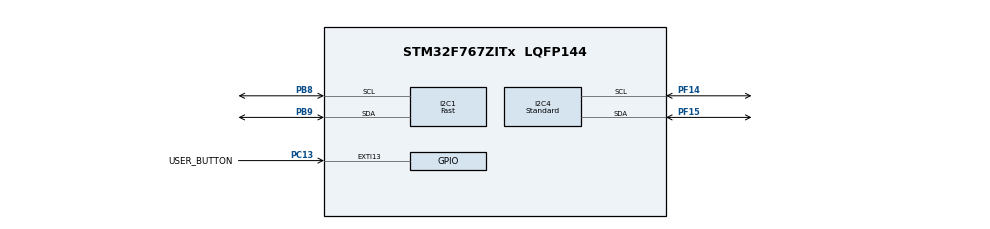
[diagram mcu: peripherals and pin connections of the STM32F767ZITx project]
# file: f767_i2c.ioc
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CORTEX_M7.default_mode_Activation=1
I2C1.I2C_Speed_Mode=I2C_Fast
I2C1.Timing=0x0010061A
I2C4.I2C_Speed_Mode=I2C_Standard
Mcu.Family=STM32F7
Mcu.Name=STM32F767ZITx
Mcu.Package=LQFP144
NVIC.EXTI15_10_IRQn=true\:0\:0\:false\:false\:true\:true\:true\:true
NVIC.PriorityGroup=NVIC_PRIORITYGROUP_4
PB8.Mode=I2C
PB8.Signal=I2C1_SCL
PB9.Mode=I2C
PB9.Signal=I2C1_SDA
PC13.GPIO_Label=USER_BUTTON
PC13.Signal=GPXTI13
PF14.Mode=I2C
PF14.Signal=I2C4_SCL
PF15.Mode=I2C
PF15.Signal=I2C4_SDA
ProjectManager.HeapSize=0x200
ProjectManager.StackSize=0x400
ProjectManager.TargetToolchain=STM32CubeIDE
RCC.HSE_VALUE=25000000
RCC.HSI_VALUE=16000000
RCC.LSE_VALUE=32768
RCC.USBFreq_Value=96000000
RCC.VCOOutputFreq_Value=192000000
board=custom

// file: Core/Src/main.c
/* USER CODE BEGIN Header */
/**
  ******************************************************************************
  * @file           : main.c
  * @brief          : Main program body
  ******************************************************************************
  * @attention
  *
  * Copyright (c) 2026 STMicroelectronics.
  * All rights reserved.
  *
  * This software is licensed under terms that can be found in the LICENSE file
  * in the root directory of this software component.
  * If no LICENSE file comes with this software, it is provided AS-IS.
  *
  ******************************************************************************
  */
/* USER CODE END Header */
#include "main.h"

/* USER CODE BEGIN Includes */
#include "ssd1306.h"
#include "MPU6050.h"
#include "math.h"
#include <stdio.h>
/* USER CODE END Includes */

I2C_HandleTypeDef hi2c1;
I2C_HandleTypeDef hi2c4;

/* USER CODE BEGIN PV */

float Ax, Ay, Az;
float Gx, Gy, Gz;

float accel_pitch, accel_roll;
float pitch, roll;

uint32_t ultimo_tempo_botao = 0;
uint32_t tempo_display = 0;
uint8_t tela_anterior = 3;

#define PI 3.14159265358979323846

volatile uint8_t control = 0;

/* USER CODE END PV */

void SystemClock_Config(void);
static void MPU_Config(void);
static void MX_GPIO_Init(void);
static void MX_I2C1_Init(void);
static void MX_I2C4_Init(void);

int main(void)
{

  /* MPU Configuration--------------------------------------------------------*/
  MPU_Config();

  /* MCU Configuration--------------------------------------------------------*/

  /* Reset of all peripherals, Initializes the Flash interface and the Systick. */
  HAL_Init();

  /* Configure the system clock */
  SystemClock_Config();

  /* Initialize all configured peripherals */
  MX_GPIO_Init();
  MX_I2C1_Init();
  MX_I2C4_Init();
  /* USER CODE BEGIN 2 */

  SSD1306_Init();
  MPU6050_init();

  MPU6050_Read_Accel(&Ax, &Ay, &Az);
  pitch = atan2(Ax, sqrt(Ay * Ay + Az * Az)) * (180.0 / PI);
  roll  = atan2(Ay, sqrt(Ax * Ax + Az * Az)) * (180.0 / PI);

  uint32_t tempo_anterior = HAL_GetTick();

  SSD1306_Clear();

  SSD1306_GotoXY(40, 0);
  SSD1306_Puts("Angulos", &Font_7x10, 1);

  SSD1306_GotoXY(15, 16);
  SSD1306_Puts("Pitch:", &Font_7x10, 1);
  SSD1306_GotoXY(15, 30);
  SSD1306_Puts("Roll: ", &Font_7x10, 1);
  SSD1306_GotoXY(15, 44);
  SSD1306_Puts("Yaw:  ", &Font_7x10, 1);

  SSD1306_UpdateScreen();

  /* USER CODE END 2 */

  /* Infinite loop */
  while (1)
  {

	  MPU6050_Read_Accel(&Ax,&Ay,&Az);
	  MPU6050_Read_Gyro(&Gx, &Gy, &Gz);

	  uint32_t tempo_atual = HAL_GetTick();
	  float dt = (tempo_atual - tempo_anterior) / 1000.0;
	  tempo_anterior = tempo_atual;

	  char buffer_float[16];

	  if(dt > 0){

		  accel_pitch = atan2(Ax, sqrt(Ay * Ay + Az * Az)) * (180.0/ PI);
		  accel_roll = atan2(Ay, sqrt(Ax * Ax + Az * Az)) * (180.0/ PI);

		  float gx_ang = Gx / 131.0;
		  float gy_ang = Gy / 131.0;

		  pitch = 0.05 * (pitch + gx_ang * dt) + 0.95 * accel_pitch;
		  roll = 0.05 * (roll + gy_ang * dt) + 0.95 * accel_roll;

		  if(tempo_atual - tempo_display >= 100){

			  tempo_display = HAL_GetTick();

			  if(control != tela_anterior){

				  SSD1306_Clear();

				  if(control == 0){

					  SSD1306_GotoXY(40, 0);
					  SSD1306_Puts("Degrees", &Font_7x10, 1);

					  SSD1306_GotoXY(15, 16);
					  SSD1306_Puts("Pitch:", &Font_7x10, 1);
					  SSD1306_GotoXY(15, 30);
					  SSD1306_Puts("Roll: ", &Font_7x10, 1);
					  SSD1306_GotoXY(15, 44);
					  SSD1306_Puts("Yaw: ", &Font_7x10, 1);

				  }

				 if(control == 1){

					 SSD1306_GotoXY(20, 0);
					 SSD1306_Puts("Accelerations", &Font_7x10, 1);

					 SSD1306_GotoXY(15, 16);
					 SSD1306_Puts("Ac.X:", &Font_7x10, 1);
					 SSD1306_GotoXY(15, 30);
					 SSD1306_Puts("Ac.Y: ", &Font_7x10, 1);
					 SSD1306_GotoXY(15, 44);
					 SSD1306_Puts("Ac.Z:", &Font_7x10, 1);

				 }

				 if(control == 2){

					 SSD1306_GotoXY(30, 0);
					 SSD1306_Puts("Velocities", &Font_7x10, 1);

					 SSD1306_GotoXY(15, 16);
					 SSD1306_Puts("Vel.X:", &Font_7x10, 1);
					 SSD1306_GotoXY(15, 30);
					 SSD1306_Puts("Vel.Y: ", &Font_7x10, 1);
					 SSD1306_GotoXY(15, 44);
					 SSD1306_Puts("Vel.Z:", &Font_7x10, 1);

				 }

				 tela_anterior = control;
			  }

			  if(control == 0){

				  SSD1306_GotoXY (65,16);
				  sprintf (buffer_float, "%.3f", pitch);
				  SSD1306_Puts (buffer_float, &Font_7x10, 1);
				  SSD1306_GotoXY (65,30);
				  sprintf (buffer_float, "%.3f", roll);
				  SSD1306_Puts (buffer_float, &Font_7x10, 1);
				  SSD1306_GotoXY (65,44);
				  sprintf (buffer_float, "%.3f", 0.0);
				  SSD1306_Puts (buffer_float, &Font_7x10, 1);

			  }

			  if(control == 1){

				  SSD1306_GotoXY (65,16);
				  sprintf (buffer_float, "%.3f", Ax);
				  SSD1306_Puts (buffer_float, &Font_7x10, 1);
				  SSD1306_GotoXY (65,30);
				  sprintf (buffer_float, "%.3f", Ay);
				  SSD1306_Puts (buffer_float, &Font_7x10, 1);
				  SSD1306_GotoXY (65,44);
				  sprintf (buffer_float, "%.3f", Az);
				  SSD1306_Puts (buffer_float, &Font_7x10, 1);

			  }

			  if(control == 2){

				  SSD1306_GotoXY (65,16);
				  sprintf (buffer_float, "%.3f", Gx);
				  SSD1306_Puts (buffer_float, &Font_7x10, 1);
				  SSD1306_GotoXY (65,30);
				  sprintf (buffer_float, "%.3f", Gy);
				  SSD1306_Puts (buffer_float, &Font_7x10, 1);
				  SSD1306_GotoXY (65,44);
				  sprintf (buffer_float, "%.3f", Gz);
				  SSD1306_Puts (buffer_float, &Font_7x10, 1);

			  }

			  SSD1306_UpdateScreen();

		  }

	  }

  }
}

void SystemClock_Config(void)
{
  RCC_OscInitTypeDef RCC_OscInitStruct = {0};
  RCC_ClkInitTypeDef RCC_ClkInitStruct = {0};

  /** Configure the main internal regulator output voltage
  */
  __HAL_RCC_PWR_CLK_ENABLE();
  __HAL_PWR_VOLTAGESCALING_CONFIG(PWR_REGULATOR_VOLTAGE_SCALE3);

  /** Initializes the RCC Oscillators according to the specified parameters
  * in the RCC_OscInitTypeDef structure.
  */
  RCC_OscInitStruct.OscillatorType = RCC_OSCILLATORTYPE_HSI;
  RCC_OscInitStruct.HSIState = RCC_HSI_ON;
  RCC_OscInitStruct.HSICalibrationValue = RCC_HSICALIBRATION_DEFAULT;
  RCC_OscInitStruct.PLL.PLLState = RCC_PLL_NONE;
  if (HAL_RCC_OscConfig(&RCC_OscInitStruct) != HAL_OK)
  {
    Error_Handler();
  }

  /** Initializes the CPU, AHB and APB buses clocks
  */
  RCC_ClkInitStruct.ClockType = RCC_CLOCKTYPE_HCLK|RCC_CLOCKTYPE_SYSCLK
                              |RCC_CLOCKTYPE_PCLK1|RCC_CLOCKTYPE_PCLK2;
  RCC_ClkInitStruct.SYSCLKSource = RCC_SYSCLKSOURCE_HSI;
  RCC_ClkInitStruct.AHBCLKDivider = RCC_SYSCLK_DIV1;
  RCC_ClkInitStruct.APB1CLKDivider = RCC_HCLK_DIV1;
  RCC_ClkInitStruct.APB2CLKDivider = RCC_HCLK_DIV1;

  if (HAL_RCC_ClockConfig(&RCC_ClkInitStruct, FLASH_LATENCY_0) != HAL_OK)
  {
    Error_Handler();
  }
}

static void MX_I2C1_Init(void)
{

  hi2c1.Instance = I2C1;
  hi2c1.Init.Timing = 0x0010061A;
  hi2c1.Init.OwnAddress1 = 0;
  hi2c1.Init.AddressingMode = I2C_ADDRESSINGMODE_7BIT;
  hi2c1.Init.DualAddressMode = I2C_DUALADDRESS_DISABLE;
  hi2c1.Init.OwnAddress2 = 0;
  hi2c1.Init.OwnAddress2Masks = I2C_OA2_NOMASK;
  hi2c1.Init.GeneralCallMode = I2C_GENERALCALL_DISABLE;
  hi2c1.Init.NoStretchMode = I2C_NOSTRETCH_DISABLE;
  if (HAL_I2C_Init(&hi2c1) != HAL_OK)
  {
    Error_Handler();
  }

  /** Configure Analogue filter
  */
  if (HAL_I2CEx_ConfigAnalogFilter(&hi2c1, I2C_ANALOGFILTER_ENABLE) != HAL_OK)
  {
    Error_Handler();
  }

  /** Configure Digital filter
  */
  if (HAL_I2CEx_ConfigDigitalFilter(&hi2c1, 0) != HAL_OK)
  {
    Error_Handler();
  }

}

static void MX_I2C4_Init(void)
{

  hi2c4.Instance = I2C4;
  hi2c4.Init.Timing = 0x00303D5B;
  hi2c4.Init.OwnAddress1 = 0;
  hi2c4.Init.AddressingMode = I2C_ADDRESSINGMODE_7BIT;
  hi2c4.Init.DualAddressMode = I2C_DUALADDRESS_DISABLE;
  hi2c4.Init.OwnAddress2 = 0;
  hi2c4.Init.OwnAddress2Masks = I2C_OA2_NOMASK;
  hi2c4.Init.GeneralCallMode = I2C_GENERALCALL_DISABLE;
  hi2c4.Init.NoStretchMode = I2C_NOSTRETCH_DISABLE;
  if (HAL_I2C_Init(&hi2c4) != HAL_OK)
  {
    Error_Handler();
  }

  /** Configure Analogue filter
  */
  if (HAL_I2CEx_ConfigAnalogFilter(&hi2c4, I2C_ANALOGFILTER_ENABLE) != HAL_OK)
  {
    Error_Handler();
  }

  /** Configure Digital filter
  */
  if (HAL_I2CEx_ConfigDigitalFilter(&hi2c4, 0) != HAL_OK)
  {
    Error_Handler();
  }

}

static void MX_GPIO_Init(void)
{
  GPIO_InitTypeDef GPIO_InitStruct = {0};

  /* GPIO Ports Clock Enable */
  __HAL_RCC_GPIOC_CLK_ENABLE();
  __HAL_RCC_GPIOF_CLK_ENABLE();
  __HAL_RCC_GPIOB_CLK_ENABLE();

  /*Configure GPIO pin : USER_BUTTON_Pin */
  GPIO_InitStruct.Pin = USER_BUTTON_Pin;
  GPIO_InitStruct.Mode = GPIO_MODE_IT_RISING;
  GPIO_InitStruct.Pull = GPIO_NOPULL;
  HAL_GPIO_Init(USER_BUTTON_GPIO_Port, &GPIO_InitStruct);

  /* EXTI interrupt init*/
  HAL_NVIC_SetPriority(EXTI15_10_IRQn, 0, 0);
  HAL_NVIC_EnableIRQ(EXTI15_10_IRQn);

}

/* USER CODE BEGIN 4 */
void HAL_GPIO_EXTI_Callback(uint16_t GPIO_Pin)
{
	if(GPIO_Pin == USER_BUTTON_Pin){

			uint32_t tempo_atual_botao = HAL_GetTick();

			if((tempo_atual_botao - ultimo_tempo_botao) > 200){

				control++;

				if(control > 2){
					control = 0;
				}
				ultimo_tempo_botao = tempo_atual_botao;
			}

	}

}
/* USER CODE END 4 */

 /* MPU Configuration */

void MPU_Config(void)
{
  MPU_Region_InitTypeDef MPU_InitStruct = {0};

  /* Disables the MPU */
  HAL_MPU_Disable();

  /** Initializes and configures the Region and the memory to be protected
  */
  MPU_InitStruct.Enable = MPU_REGION_ENABLE;
  MPU_InitStruct.Number = MPU_REGION_NUMBER0;
  MPU_InitStruct.BaseAddress = 0x0;
  MPU_InitStruct.Size = MPU_REGION_SIZE_4GB;
  MPU_InitStruct.SubRegionDisable = 0x87;
  MPU_InitStruct.TypeExtField = MPU_TEX_LEVEL0;
  MPU_InitStruct.AccessPermission = MPU_REGION_NO_ACCESS;
  MPU_InitStruct.DisableExec = MPU_INSTRUCTION_ACCESS_DISABLE;
  MPU_InitStruct.IsShareable = MPU_ACCESS_SHAREABLE;
  MPU_InitStruct.IsCacheable = MPU_ACCESS_NOT_CACHEABLE;
  MPU_InitStruct.IsBufferable = MPU_ACCESS_NOT_BUFFERABLE;

  HAL_MPU_ConfigRegion(&MPU_InitStruct);
  /* Enables the MPU */
  HAL_MPU_Enable(MPU_PRIVILEGED_DEFAULT);

}

void Error_Handler(void)
{
  __disable_irq();
  while (1)
  {
  }
}
